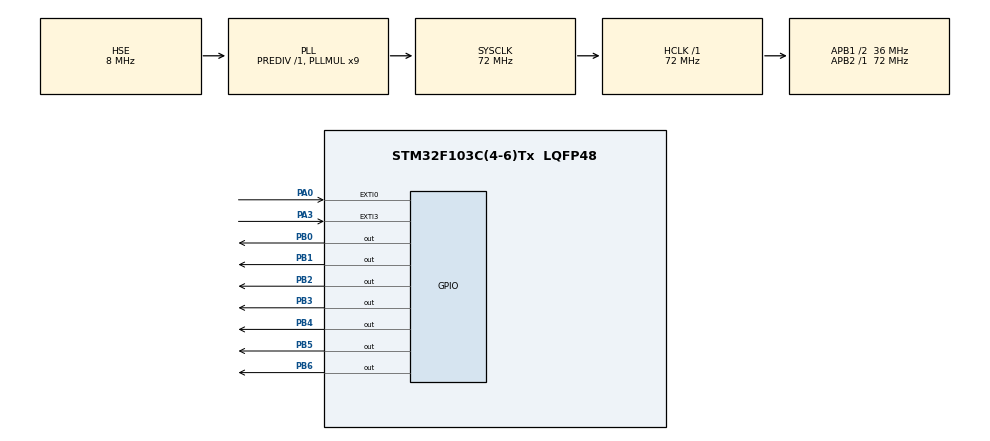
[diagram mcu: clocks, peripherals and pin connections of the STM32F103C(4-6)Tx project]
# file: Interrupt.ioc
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Mcu.Family=STM32F1
Mcu.Name=STM32F103C(4-6)Tx
Mcu.Package=LQFP48
NVIC.EXTI0_IRQn=true\:2\:0\:true\:false\:true\:true\:true
NVIC.EXTI3_IRQn=true\:1\:0\:true\:false\:true\:true\:true
NVIC.PriorityGroup=NVIC_PRIORITYGROUP_4
PA0-WKUP.GPIO_ModeDefaultEXTI=GPIO_MODE_IT_RISING
PA0-WKUP.GPIO_PuPd=GPIO_PULLDOWN
PA0-WKUP.Signal=GPXTI0
PA13.Mode=Serial_Wire
PA13.Signal=SYS_JTMS-SWDIO
PA14.Mode=Serial_Wire
PA14.Signal=SYS_JTCK-SWCLK
PA3.GPIO_PuPd=GPIO_PULLDOWN
PA3.Signal=GPXTI3
PB0.GPIO_PuPd=GPIO_PULLDOWN
PB0.PinState=GPIO_PIN_RESET
PB0.Signal=GPIO_Output
PB1.GPIO_PuPd=GPIO_PULLDOWN
PB1.PinState=GPIO_PIN_RESET
PB1.Signal=GPIO_Output
PB2.GPIO_PuPd=GPIO_PULLDOWN
PB2.PinState=GPIO_PIN_RESET
PB2.Signal=GPIO_Output
PB3.GPIO_PuPd=GPIO_PULLDOWN
PB3.PinState=GPIO_PIN_RESET
PB3.Signal=GPIO_Output
PB4.GPIO_PuPd=GPIO_PULLDOWN
PB4.Signal=GPIO_Output
PB5.GPIO_PuPd=GPIO_PULLDOWN
PB5.Signal=GPIO_Output
PB6.GPIO_PuPd=GPIO_PULLDOWN
PB6.Signal=GPIO_Output
PD0-OSC_IN.Mode=HSE-External-Oscillator
PD0-OSC_IN.Signal=RCC_OSC_IN
PD1-OSC_OUT.Mode=HSE-External-Oscillator
PD1-OSC_OUT.Signal=RCC_OSC_OUT
ProjectManager.HeapSize=0x200
ProjectManager.StackSize=0x400
ProjectManager.TargetToolchain=MDK-ARM V5.27
RCC.AHBFreq_Value=72000000
RCC.APB1CLKDivider=RCC_HCLK_DIV2
RCC.APB1Freq_Value=36000000
RCC.APB1TimFreq_Value=72000000
RCC.APB2Freq_Value=72000000
RCC.APB2TimFreq_Value=72000000
RCC.HCLKFreq_Value=72000000
RCC.PLLMUL=RCC_PLL_MUL9
RCC.PLLSourceVirtual=RCC_PLLSOURCE_HSE
RCC.SYSCLKFreq_VALUE=72000000
RCC.SYSCLKSource=RCC_SYSCLKSOURCE_PLLCLK
RCC.USBFreq_Value=72000000
board=custom

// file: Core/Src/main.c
/* USER CODE BEGIN Header */
/**
  ******************************************************************************
  * @file           : main.c
  * @brief          : Main program body
  ******************************************************************************
  * @attention
  *
  * <h2><center>&copy; Copyright (c) 2024 STMicroelectronics.
  * All rights reserved.</center></h2>
  *
  * This software component is licensed by ST under BSD 3-Clause license,
  * the "License"; You may not use this file except in compliance with the
  * License. You may obtain a copy of the License at:
  *                        opensource.org/licenses/BSD-3-Clause
  *
  ******************************************************************************
  */
/* USER CODE END Header */
#include "main.h"

void SystemClock_Config(void);
static void MX_GPIO_Init(void);

/* USER CODE BEGIN 0 */
void displayNumber(uint8_t number) {

uint8_t led7_code[10] = {
    0xC0, // 0: 0b11000000
    0xF9, // 1: 0b11111001
    0xA4, // 2: 0b10100100
    0xB0, // 3: 0b10110000
    0x99, // 4: 0b10011001
    0x92, // 5: 0b10010010
    0x82, // 6: 0b10000010
    0xF8, // 7: 0b11111000
    0x80, // 8: 0b10000000
    0x90  // 9: 0b10010000
};

    GPIOB->ODR = led7_code[number];
}

	void HAL_GPIO_EXTI_Callback(uint16_t GPIO_Pin){
			if(GPIO_Pin == GPIO_PIN_0){
				displayNumber(0);
			}

			if(GPIO_Pin == GPIO_PIN_3){
				displayNumber(3);
			}
		}
/* USER CODE END 0 */

int main(void)
{

  /* MCU Configuration--------------------------------------------------------*/

  /* Reset of all peripherals, Initializes the Flash interface and the Systick. */
  HAL_Init();

  /* Configure the system clock */
  SystemClock_Config();

  /* Initialize all configured peripherals */
  MX_GPIO_Init();

  /* Infinite loop */
  while (1)
  {

  }
}

void SystemClock_Config(void)
{
  RCC_OscInitTypeDef RCC_OscInitStruct = {0};
  RCC_ClkInitTypeDef RCC_ClkInitStruct = {0};

  /** Initializes the RCC Oscillators according to the specified parameters
  * in the RCC_OscInitTypeDef structure.
  */
  RCC_OscInitStruct.OscillatorType = RCC_OSCILLATORTYPE_HSE;
  RCC_OscInitStruct.HSEState = RCC_HSE_ON;
  RCC_OscInitStruct.HSEPredivValue = RCC_HSE_PREDIV_DIV1;
  RCC_OscInitStruct.HSIState = RCC_HSI_ON;
  RCC_OscInitStruct.PLL.PLLState = RCC_PLL_ON;
  RCC_OscInitStruct.PLL.PLLSource = RCC_PLLSOURCE_HSE;
  RCC_OscInitStruct.PLL.PLLMUL = RCC_PLL_MUL9;
  if (HAL_RCC_OscConfig(&RCC_OscInitStruct) != HAL_OK)
  {
    Error_Handler();
  }
  /** Initializes the CPU, AHB and APB buses clocks
  */
  RCC_ClkInitStruct.ClockType = RCC_CLOCKTYPE_HCLK|RCC_CLOCKTYPE_SYSCLK
                              |RCC_CLOCKTYPE_PCLK1|RCC_CLOCKTYPE_PCLK2;
  RCC_ClkInitStruct.SYSCLKSource = RCC_SYSCLKSOURCE_PLLCLK;
  RCC_ClkInitStruct.AHBCLKDivider = RCC_SYSCLK_DIV1;
  RCC_ClkInitStruct.APB1CLKDivider = RCC_HCLK_DIV2;
  RCC_ClkInitStruct.APB2CLKDivider = RCC_HCLK_DIV1;

  if (HAL_RCC_ClockConfig(&RCC_ClkInitStruct, FLASH_LATENCY_2) != HAL_OK)
  {
    Error_Handler();
  }
}

static void MX_GPIO_Init(void)
{
  GPIO_InitTypeDef GPIO_InitStruct = {0};

  /* GPIO Ports Clock Enable */
  __HAL_RCC_GPIOD_CLK_ENABLE();
  __HAL_RCC_GPIOA_CLK_ENABLE();
  __HAL_RCC_GPIOB_CLK_ENABLE();

  /*Configure GPIO pin Output Level */
  HAL_GPIO_WritePin(GPIOB, GPIO_PIN_0|GPIO_PIN_1|GPIO_PIN_2|GPIO_PIN_3
                          |GPIO_PIN_4|GPIO_PIN_5|GPIO_PIN_6, GPIO_PIN_RESET);

  /*Configure GPIO pins : PA0 PA3 */
  GPIO_InitStruct.Pin = GPIO_PIN_0|GPIO_PIN_3;
  GPIO_InitStruct.Mode = GPIO_MODE_IT_RISING;
  GPIO_InitStruct.Pull = GPIO_PULLDOWN;
  HAL_GPIO_Init(GPIOA, &GPIO_InitStruct);

  /*Configure GPIO pins : PB0 PB1 PB2 PB3
                           PB4 PB5 PB6 */
  GPIO_InitStruct.Pin = GPIO_PIN_0|GPIO_PIN_1|GPIO_PIN_2|GPIO_PIN_3
                          |GPIO_PIN_4|GPIO_PIN_5|GPIO_PIN_6;
  GPIO_InitStruct.Mode = GPIO_MODE_OUTPUT_PP;
  GPIO_InitStruct.Pull = GPIO_PULLDOWN;
  GPIO_InitStruct.Speed = GPIO_SPEED_FREQ_LOW;
  HAL_GPIO_Init(GPIOB, &GPIO_InitStruct);

  /* EXTI interrupt init*/
  HAL_NVIC_SetPriority(EXTI0_IRQn, 2, 0);
  HAL_NVIC_EnableIRQ(EXTI0_IRQn);

  HAL_NVIC_SetPriority(EXTI3_IRQn, 1, 0);
  HAL_NVIC_EnableIRQ(EXTI3_IRQn);

}

void Error_Handler(void)
{
}

/************************ (C) COPYRIGHT STMicroelectronics *****END OF FILE****/
